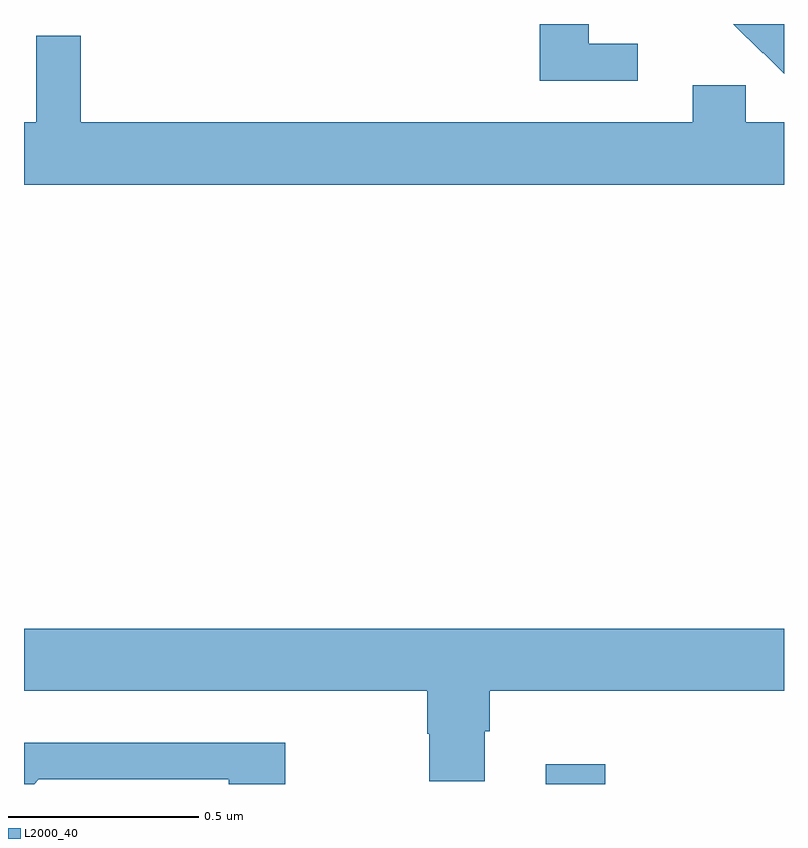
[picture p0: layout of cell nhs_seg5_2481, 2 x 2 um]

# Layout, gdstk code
import gdstk
lib = gdstk.Library(unit=1e-6, precision=1e-09)
def R(c, l, rs):  # rectangles x0, y0, x1, y1
    for r in rs: c.add(gdstk.rectangle(r[:2], r[2:], *l))
def P(c, l, *ps):  # polygons
    for p in ps: c.add(gdstk.Polygon(p, *l))
L2000_40 = (2000, 40)

nhs_seg5_2481 = lib.new_cell('nhs_seg5_2481')
R(nhs_seg5_2481, L2000_40, [(145.373,905.799,145.529,905.851)])
P(nhs_seg5_2481, L2000_40, [(145.615,907.747),(145.486,907.747),(145.486,907.799),(145.357,907.799),(145.357,907.65),(145.615,907.65)],
  [(146,907.799),(145.867,907.799),(145.944,907.722),(145.945,907.723),(146,907.668)],
  [(146,907.54),(145.899,907.54),(145.899,907.638),(145.76,907.638),(145.76,907.54),(144.149,907.54),(144.149,907.768),(144.032,907.768),(144.032,907.54),(144,907.54),(144,907.376),(146,907.376)],
  [(145.213,905.938),(145.226,905.938),(145.226,906.044),(146,906.044),(146,906.208),(144,906.208),(144,906.044),(145.061,906.044),(145.061,905.931),(145.066,905.931),(145.066,905.806),(145.213,905.806)],
  [(144.039,905.811),(144.539,905.811),(144.539,905.799),(144.688,905.799),(144.688,905.908),(144,905.908),(144,905.799),(144.027,905.799)])

lib.write_gds('nhs_seg5_2481.gds')
